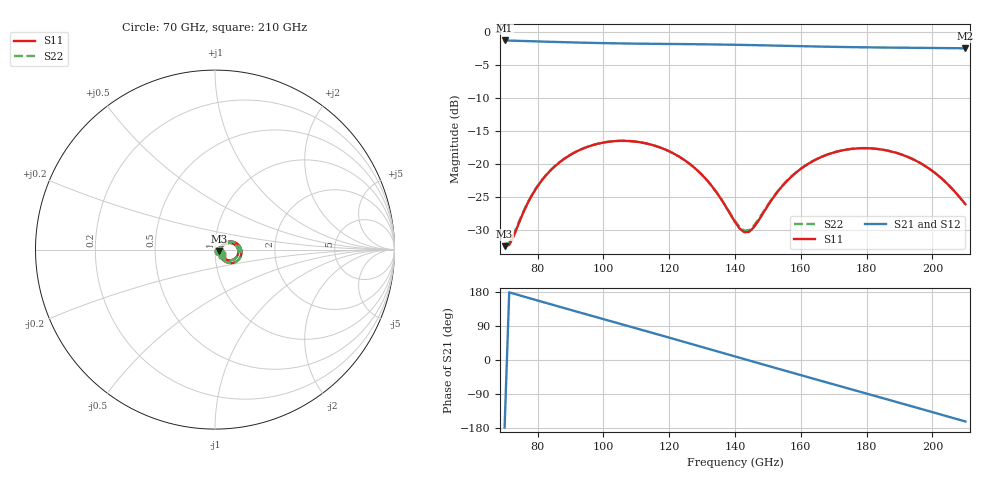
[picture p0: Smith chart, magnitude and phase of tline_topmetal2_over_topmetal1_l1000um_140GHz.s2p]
#  GHZ S DB R 50
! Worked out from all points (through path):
!   101 points, 70 GHz to 210 GHz, reference 50 ohm
!   highest |S21| = -1.32 dB at 70 GHz (marker M1); lowest = -2.5 dB at 210 GHz (marker M2)
!   group delay of S21, straight-line fit = 6.83 ps
!   lowest |S11| = -32.5 dB at 70 GHz (marker M3), VSWR 1.05, Z = 52.2 - j0.953 ohm
!   |S11| at or under -10 dB: start of sweep to end of sweep
!   |S22| runs from -32.2 to -16.5 dB; largest |S21 - S12| = 1.4e-13
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70  -32.51 -22.6  -1.32 -178.0  -1.32 -178.0  -32.21 -21.7
71.4  -32.32 -1.9  -1.34 178.5  -1.34 178.5  -32.00 -1.8
77  -26.00 32.8  -1.42 164.5  -1.42 164.5  -25.90 32.1
81.2  -22.60 32.8  -1.48 154.1  -1.48 154.1  -22.55 32.3
86.8  -19.75 25.8  -1.56 140.3  -1.56 140.3  -19.73 25.5
93.8  -17.71 13.6  -1.66 123.1  -1.66 123.1  -17.70 13.4
100.8  -16.74 0.2  -1.73 106.0  -1.73 106.0  -16.73 0.1
106.4  -16.54 -10.8  -1.78 92.3  -1.78 92.3  -16.54 -10.8
117.6  -17.62 -32.2  -1.84 64.9  -1.84 64.9  -17.61 -32.1
124.6  -19.44 -44.0  -1.87 47.7  -1.87 47.7  -19.44 -43.7
130.2  -21.82 -50.8  -1.90 33.8  -1.90 33.8  -21.80 -50.4
134.4  -24.36 -51.9  -1.93 23.4  -1.93 23.4  -24.33 -51.3
140  -28.84 -37.8  -1.97 9.4  -1.97 9.4  -28.71 -36.9
142.8  -30.39 -16.9  -2.00 2.5  -2.00 2.5  -30.16 -16.4
144.2  -30.35 -4.3  -2.01 -1.0  -2.01 -1.0  -30.11 -4.3
155.4  -22.83 28.3  -2.13 -28.6  -2.13 -28.6  -22.77 27.7
163.8  -19.58 18.7  -2.23 -49.2  -2.23 -49.2  -19.55 18.3
170.8  -18.20 7.2  -2.29 -66.3  -2.29 -66.3  -18.18 6.8
176.4  -17.72 -2.8  -2.34 -79.9  -2.34 -79.9  -17.70 -3.1
187.6  -18.17 -22.6  -2.40 -107.2  -2.40 -107.2  -18.16 -22.8
198.8  -20.69 -39.1  -2.45 -134.7  -2.45 -134.7  -20.68 -39.4
210  -26.14 -38.4  -2.51 -162.3  -2.51 -162.3  -26.16 -38.8
